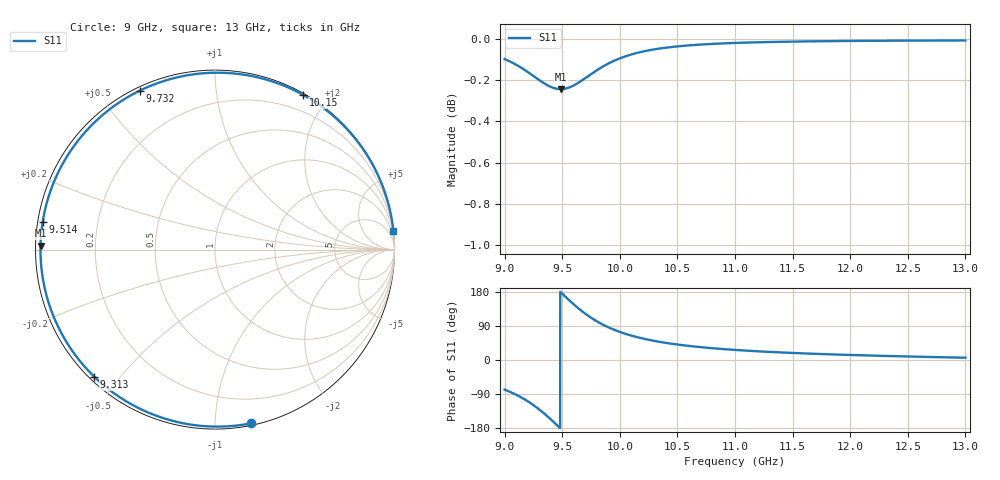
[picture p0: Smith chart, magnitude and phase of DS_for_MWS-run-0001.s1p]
! TOUCHSTONE file generated by CST DESIGN STUDIO
! Date and time: Tue Feb  4 17:21:17 2025
! Project name: C:\Work\MatlabApps\UnitCellOptimizationMatlab\CST\unitcell.cst
! Tree item: Tasks\Sweep1\SPara1\S-Parameters
! Header version: 2024
! Port assignment regex: !\s*Touchstone port\s*([0-9]+)\s*=\s*(CST MWS port|CST DES external port|CST DES block port)\s*(.+)\s* \(\"(.*)\"\)(\s*mode\s*([0-9]+))?.*
! Touchstone port assignment:
! Touchstone port 1 = CST DES external port 1 ("")
# GHz S MA R 50
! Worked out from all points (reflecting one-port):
!   4001 points, 9 GHz to 13 GHz, reference 50 ohm
!   lowest |S11| = -0.2 dB at 9.487 GHz (marker M1), VSWR 71.44, Z = 0.7 + j0.57 ohm
!   phase of S11 starts at -78 deg and turns -276 deg over the sweep
!   S11 on the Smith chart (normalised r, x): 9 GHz: 0.01, -1.23; 9.313 GHz: 0.01, -0.43; 9.514 GHz: 0.01, +0.08; 9.732 GHz: 0.01, +0.63; 10.15 GHz: 0.02, +1.72; 13 GHz: 0, +19
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9  0.9889 -78.2
9.079  0.9865 -88.5
9.178  0.9827 -104.6
9.248  0.9797 -118.5
9.313  0.9768 -133.5
9.359  0.975 -145.3
9.407  0.9735 -158.4
9.448  0.9727 -170.0
9.487  0.9724 178.7
9.5  0.9724 174.9
9.514  0.9725 170.9
9.567  0.9734 155.8
9.627  0.9754 139.8
9.679  0.9775 127.0
9.732  0.9798 115.3
9.786  0.9821 104.7
9.846  0.9845 94.4
9.922  0.9871 83.4
10  0.9893 74.1
10.149  0.9923 60.4
10.308  0.9944 49.9
10.5  0.9959 40.8
10.722  0.997 33.3
11  0.9979 26.6
11.5  0.9986 18.6
12  0.999 13.3
12.5  0.9992 9.3
13  0.9993 6.0
